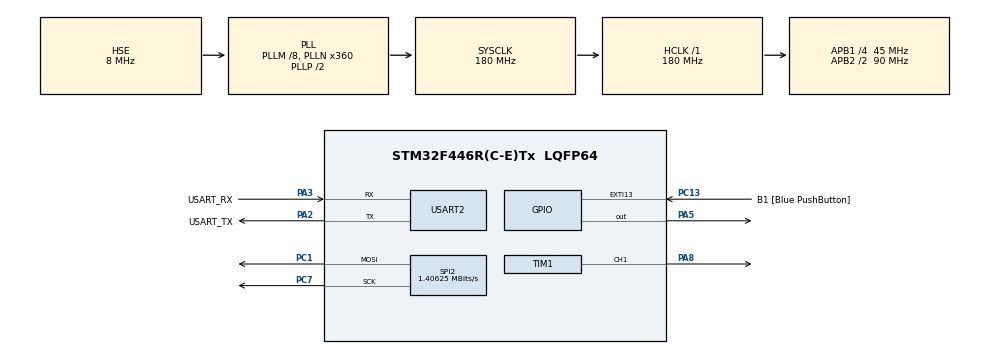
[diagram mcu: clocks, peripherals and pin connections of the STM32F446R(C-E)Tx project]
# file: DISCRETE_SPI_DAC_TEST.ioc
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Dma.Request0=TIM1_UP
Dma.TIM1_UP.0.Direction=DMA_MEMORY_TO_PERIPH
Dma.TIM1_UP.0.FIFOMode=DMA_FIFOMODE_DISABLE
Dma.TIM1_UP.0.Instance=DMA2_Stream5
Dma.TIM1_UP.0.MemDataAlignment=DMA_MDATAALIGN_BYTE
Dma.TIM1_UP.0.MemInc=DMA_MINC_ENABLE
Dma.TIM1_UP.0.Mode=DMA_CIRCULAR
Dma.TIM1_UP.0.PeriphDataAlignment=DMA_PDATAALIGN_BYTE
Dma.TIM1_UP.0.PeriphInc=DMA_PINC_DISABLE
Dma.TIM1_UP.0.Priority=DMA_PRIORITY_LOW
Mcu.Family=STM32F4
Mcu.Name=STM32F446R(C-E)Tx
Mcu.Package=LQFP64
Mcu.UserConstants=timer_period,5000
NVIC.DMA2_Stream5_IRQn=true\:0\:0\:false\:false\:true\:false\:true\:true
NVIC.EXTI15_10_IRQn=true\:0\:0\:false\:false\:true\:true\:true\:true
NVIC.PriorityGroup=NVIC_PRIORITYGROUP_0
PA13.GPIO_Label=TMS
PA13.Mode=Serial_Wire
PA13.Signal=SYS_JTMS-SWDIO
PA14.GPIO_Label=TCK
PA14.Mode=Serial_Wire
PA14.Signal=SYS_JTCK-SWCLK
PA2.GPIO_Label=USART_TX
PA2.Mode=Asynchronous
PA2.Signal=USART2_TX
PA3.GPIO_Label=USART_RX
PA3.Mode=Asynchronous
PA3.Signal=USART2_RX
PA5.Signal=GPIO_Output
PA8.Signal=S_TIM1_CH1
PC1.Mode=TX_Only_Simplex_Unidirect_Master
PC1.Signal=SPI2_MOSI
PC13.GPIO_Label=B1 [Blue PushButton]
PC13.GPIO_ModeDefaultEXTI=GPIO_MODE_IT_FALLING
PC13.Signal=GPXTI13
PC14-OSC32_IN.Mode=LSE-External-Oscillator
PC14-OSC32_IN.Signal=RCC_OSC32_IN
PC15-OSC32_OUT.Mode=LSE-External-Oscillator
PC15-OSC32_OUT.Signal=RCC_OSC32_OUT
PC7.Mode=TX_Only_Simplex_Unidirect_Master
PC7.Signal=SPI2_SCK
PH0-OSC_IN.Mode=HSE-External-Oscillator
PH0-OSC_IN.Signal=RCC_OSC_IN
PH1-OSC_OUT.Mode=HSE-External-Oscillator
PH1-OSC_OUT.Signal=RCC_OSC_OUT
ProjectManager.HeapSize=0x200
ProjectManager.StackSize=0x400
ProjectManager.TargetToolchain=STM32CubeIDE
RCC.48MHZClocksFreq_Value=84000000
RCC.AHBFreq_Value=180000000
RCC.APB1CLKDivider=RCC_HCLK_DIV4
RCC.APB1Freq_Value=45000000
RCC.APB1TimFreq_Value=90000000
RCC.APB2CLKDivider=RCC_HCLK_DIV2
RCC.APB2Freq_Value=90000000
RCC.APB2TimFreq_Value=180000000
RCC.CortexFreq_Value=180000000
RCC.FLatency-AdvancedSettings=FLASH_LATENCY_5
RCC.HCLKFreq_Value=180000000
RCC.HSE_VALUE=8000000
RCC.HSI_VALUE=16000000
RCC.PLLM=8
RCC.PLLN=360
RCC.PLLSourceVirtual=RCC_PLLSOURCE_HSE
RCC.SYSCLKFreq_VALUE=180000000
RCC.SYSCLKSource=RCC_SYSCLKSOURCE_PLLCLK
RCC.USBFreq_Value=180000000
RCC.VCOOutputFreq_Value=360000000
SH.S_TIM1_CH1.0=TIM1_CH1,PWM Generation1 CH1
SPI2.BaudRatePrescaler=SPI_BAUDRATEPRESCALER_32
SPI2.CalculateBaudRate=1.40625 MBits/s
SPI2.Direction=SPI_DIRECTION_2LINES
SPI2.Mode=SPI_MODE_MASTER
SPI2.VirtualType=VM_MASTER
TIM1.Channel-PWM\ Generation1\ CH1=TIM_CHANNEL_1
TIM1.OCIdleState_1=TIM_OCIDLESTATE_SET
TIM1.OCPolarity_1=TIM_OCPOLARITY_LOW
TIM1.Period=timer_period
TIM1.Prescaler=0
TIM1.Pulse-PWM\ Generation1\ CH1=1100
USART2.VirtualMode=VM_ASYNC
VP_TIM1_VS_ClockSourceINT.Mode=Internal
board=NUCLEO-F446RE

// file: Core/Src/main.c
/* USER CODE BEGIN Header */
/**
  ******************************************************************************
  * @file           : main.c
  * @brief          : Main program body
  ******************************************************************************
  * @attention
  *
  * Copyright (c) 2024 STMicroelectronics.
  * All rights reserved.
  *
  * This software is licensed under terms that can be found in the LICENSE file
  * in the root directory of this software component.
  * If no LICENSE file comes with this software, it is provided AS-IS.
  *
  ******************************************************************************
  */
/* USER CODE END Header */
#include "main.h"

/* USER CODE BEGIN Includes */
#include <math.h>
#include <stdio.h>
#include <stdlib.h>
#include <string.h>
/* USER CODE END Includes */

SPI_HandleTypeDef hspi2;

TIM_HandleTypeDef htim1;
DMA_HandleTypeDef hdma_tim1_up;

UART_HandleTypeDef huart2;

void SystemClock_Config(void);
static void MX_GPIO_Init(void);
static void MX_DMA_Init(void);
static void MX_USART2_UART_Init(void);
static void MX_TIM1_Init(void);
static void MX_SPI2_Init(void);
/* USER CODE BEGIN PFP */
#define PUTCHAR_PROTOTYPE int __io_putchar(int ch)
/* USER CODE END PFP */

/* USER CODE BEGIN 0 */
PUTCHAR_PROTOTYPE
{
  /* Place your implementation of fputc here */
  /* e.g. write a character to the USART2 and Loop until the end of transmission */
  HAL_UART_Transmit(&huart2, (uint8_t *)&ch, 1, 0xFFFF);
  return ch;
}
uint32_t data_len = 512;
uint8_t DAC_data[512];
uint8_t waveform_type=0;

/* USER CODE END 0 */

int main(void)
{

  /* MCU Configuration--------------------------------------------------------*/

  /* Reset of all peripherals, Initializes the Flash interface and the Systick. */
  HAL_Init();

  /* Configure the system clock */
  SystemClock_Config();

  /* Initialize all configured peripherals */
  MX_GPIO_Init();
  MX_DMA_Init();
  MX_USART2_UART_Init();
  MX_TIM1_Init();
  MX_SPI2_Init();
  /* USER CODE BEGIN 2 */
  for (uint32_t i = 0; i< 256;i++){
    DAC_data[i] = i;

  }
  for (uint32_t i = 0; i<256;i++){
    DAC_data[i+255] = (uint8_t)255-i;
  }

  /// SPI DMA
  __HAL_SPI_ENABLE(&hspi2);
  HAL_DMA_Start(&hdma_tim1_up, (uint32_t)&DAC_data[0],  (uint32_t)&(SPI2->DR), data_len);
  TIM1->DIER |= TIM_DIER_UDE;
  HAL_TIM_Base_Start(&htim1);
  HAL_TIM_PWM_Start(&htim1, TIM_CHANNEL_1);
  /* USER CODE END 2 */

  /* Infinite loop */
  /* USER CODE BEGIN WHILE */
  while (1)
  {
	  //for (uint32_t i = 0; i< 256;i++){
		//  HAL_SPI_Transmit(&hspi2,  &DAC_data[i], 1, HAL_MAX_DELAY);
		//  HAL_Delay(100);
	  //}
	 //HAL_GPIO_WritePin(GPIOA, GPIO_PIN_15, );
	  HAL_GPIO_TogglePin(GPIOA, GPIO_PIN_5);
	  HAL_Delay(1000);

    /* USER CODE END WHILE */

  }
}

void SystemClock_Config(void)
{
  RCC_OscInitTypeDef RCC_OscInitStruct = {0};
  RCC_ClkInitTypeDef RCC_ClkInitStruct = {0};

  /** Configure the main internal regulator output voltage
  */
  __HAL_RCC_PWR_CLK_ENABLE();
  __HAL_PWR_VOLTAGESCALING_CONFIG(PWR_REGULATOR_VOLTAGE_SCALE1);

  /** Initializes the RCC Oscillators according to the specified parameters
  * in the RCC_OscInitTypeDef structure.
  */
  RCC_OscInitStruct.OscillatorType = RCC_OSCILLATORTYPE_HSE;
  RCC_OscInitStruct.HSEState = RCC_HSE_ON;
  RCC_OscInitStruct.PLL.PLLState = RCC_PLL_ON;
  RCC_OscInitStruct.PLL.PLLSource = RCC_PLLSOURCE_HSE;
  RCC_OscInitStruct.PLL.PLLM = 8;
  RCC_OscInitStruct.PLL.PLLN = 360;
  RCC_OscInitStruct.PLL.PLLP = RCC_PLLP_DIV2;
  RCC_OscInitStruct.PLL.PLLQ = 2;
  RCC_OscInitStruct.PLL.PLLR = 2;
  if (HAL_RCC_OscConfig(&RCC_OscInitStruct) != HAL_OK)
  {
    Error_Handler();
  }

  /** Activate the Over-Drive mode
  */
  if (HAL_PWREx_EnableOverDrive() != HAL_OK)
  {
    Error_Handler();
  }

  /** Initializes the CPU, AHB and APB buses clocks
  */
  RCC_ClkInitStruct.ClockType = RCC_CLOCKTYPE_HCLK|RCC_CLOCKTYPE_SYSCLK
                              |RCC_CLOCKTYPE_PCLK1|RCC_CLOCKTYPE_PCLK2;
  RCC_ClkInitStruct.SYSCLKSource = RCC_SYSCLKSOURCE_PLLCLK;
  RCC_ClkInitStruct.AHBCLKDivider = RCC_SYSCLK_DIV1;
  RCC_ClkInitStruct.APB1CLKDivider = RCC_HCLK_DIV4;
  RCC_ClkInitStruct.APB2CLKDivider = RCC_HCLK_DIV2;

  if (HAL_RCC_ClockConfig(&RCC_ClkInitStruct, FLASH_LATENCY_5) != HAL_OK)
  {
    Error_Handler();
  }
}

static void MX_SPI2_Init(void)
{

  /* SPI2 parameter configuration*/
  hspi2.Instance = SPI2;
  hspi2.Init.Mode = SPI_MODE_MASTER;
  hspi2.Init.Direction = SPI_DIRECTION_2LINES;
  hspi2.Init.DataSize = SPI_DATASIZE_8BIT;
  hspi2.Init.CLKPolarity = SPI_POLARITY_LOW;
  hspi2.Init.CLKPhase = SPI_PHASE_1EDGE;
  hspi2.Init.NSS = SPI_NSS_SOFT;
  hspi2.Init.BaudRatePrescaler = SPI_BAUDRATEPRESCALER_32;
  hspi2.Init.FirstBit = SPI_FIRSTBIT_MSB;
  hspi2.Init.TIMode = SPI_TIMODE_DISABLE;
  hspi2.Init.CRCCalculation = SPI_CRCCALCULATION_DISABLE;
  hspi2.Init.CRCPolynomial = 10;
  if (HAL_SPI_Init(&hspi2) != HAL_OK)
  {
    Error_Handler();
  }

}

static void MX_TIM1_Init(void)
{

  TIM_ClockConfigTypeDef sClockSourceConfig = {0};
  TIM_MasterConfigTypeDef sMasterConfig = {0};
  TIM_OC_InitTypeDef sConfigOC = {0};
  TIM_BreakDeadTimeConfigTypeDef sBreakDeadTimeConfig = {0};

  htim1.Instance = TIM1;
  htim1.Init.Prescaler = 0;
  htim1.Init.CounterMode = TIM_COUNTERMODE_UP;
  htim1.Init.Period = timer_period;
  htim1.Init.ClockDivision = TIM_CLOCKDIVISION_DIV1;
  htim1.Init.RepetitionCounter = 0;
  htim1.Init.AutoReloadPreload = TIM_AUTORELOAD_PRELOAD_DISABLE;
  if (HAL_TIM_Base_Init(&htim1) != HAL_OK)
  {
    Error_Handler();
  }
  sClockSourceConfig.ClockSource = TIM_CLOCKSOURCE_INTERNAL;
  if (HAL_TIM_ConfigClockSource(&htim1, &sClockSourceConfig) != HAL_OK)
  {
    Error_Handler();
  }
  if (HAL_TIM_PWM_Init(&htim1) != HAL_OK)
  {
    Error_Handler();
  }
  sMasterConfig.MasterOutputTrigger = TIM_TRGO_RESET;
  sMasterConfig.MasterSlaveMode = TIM_MASTERSLAVEMODE_DISABLE;
  if (HAL_TIMEx_MasterConfigSynchronization(&htim1, &sMasterConfig) != HAL_OK)
  {
    Error_Handler();
  }
  sConfigOC.OCMode = TIM_OCMODE_PWM1;
  sConfigOC.Pulse = 1100;
  sConfigOC.OCPolarity = TIM_OCPOLARITY_LOW;
  sConfigOC.OCNPolarity = TIM_OCNPOLARITY_HIGH;
  sConfigOC.OCFastMode = TIM_OCFAST_DISABLE;
  sConfigOC.OCIdleState = TIM_OCIDLESTATE_SET;
  sConfigOC.OCNIdleState = TIM_OCNIDLESTATE_RESET;
  if (HAL_TIM_PWM_ConfigChannel(&htim1, &sConfigOC, TIM_CHANNEL_1) != HAL_OK)
  {
    Error_Handler();
  }
  sBreakDeadTimeConfig.OffStateRunMode = TIM_OSSR_DISABLE;
  sBreakDeadTimeConfig.OffStateIDLEMode = TIM_OSSI_DISABLE;
  sBreakDeadTimeConfig.LockLevel = TIM_LOCKLEVEL_OFF;
  sBreakDeadTimeConfig.DeadTime = 0;
  sBreakDeadTimeConfig.BreakState = TIM_BREAK_DISABLE;
  sBreakDeadTimeConfig.BreakPolarity = TIM_BREAKPOLARITY_HIGH;
  sBreakDeadTimeConfig.AutomaticOutput = TIM_AUTOMATICOUTPUT_DISABLE;
  if (HAL_TIMEx_ConfigBreakDeadTime(&htim1, &sBreakDeadTimeConfig) != HAL_OK)
  {
    Error_Handler();
  }
  HAL_TIM_MspPostInit(&htim1);

}

static void MX_USART2_UART_Init(void)
{

  huart2.Instance = USART2;
  huart2.Init.BaudRate = 115200;
  huart2.Init.WordLength = UART_WORDLENGTH_8B;
  huart2.Init.StopBits = UART_STOPBITS_1;
  huart2.Init.Parity = UART_PARITY_NONE;
  huart2.Init.Mode = UART_MODE_TX_RX;
  huart2.Init.HwFlowCtl = UART_HWCONTROL_NONE;
  huart2.Init.OverSampling = UART_OVERSAMPLING_16;
  if (HAL_UART_Init(&huart2) != HAL_OK)
  {
    Error_Handler();
  }

}

static void MX_DMA_Init(void)
{

  /* DMA controller clock enable */
  __HAL_RCC_DMA2_CLK_ENABLE();

  /* DMA interrupt init */
  /* DMA2_Stream5_IRQn interrupt configuration */
  HAL_NVIC_SetPriority(DMA2_Stream5_IRQn, 0, 0);
  HAL_NVIC_EnableIRQ(DMA2_Stream5_IRQn);

}

static void MX_GPIO_Init(void)
{
  GPIO_InitTypeDef GPIO_InitStruct = {0};

  /* GPIO Ports Clock Enable */
  __HAL_RCC_GPIOC_CLK_ENABLE();
  __HAL_RCC_GPIOH_CLK_ENABLE();
  __HAL_RCC_GPIOA_CLK_ENABLE();

  /*Configure GPIO pin Output Level */
  HAL_GPIO_WritePin(GPIOA, GPIO_PIN_5, GPIO_PIN_RESET);

  /*Configure GPIO pin : B1_Pin */
  GPIO_InitStruct.Pin = B1_Pin;
  GPIO_InitStruct.Mode = GPIO_MODE_IT_FALLING;
  GPIO_InitStruct.Pull = GPIO_NOPULL;
  HAL_GPIO_Init(B1_GPIO_Port, &GPIO_InitStruct);

  /*Configure GPIO pin : PA5 */
  GPIO_InitStruct.Pin = GPIO_PIN_5;
  GPIO_InitStruct.Mode = GPIO_MODE_OUTPUT_PP;
  GPIO_InitStruct.Pull = GPIO_NOPULL;
  GPIO_InitStruct.Speed = GPIO_SPEED_FREQ_LOW;
  HAL_GPIO_Init(GPIOA, &GPIO_InitStruct);

  /* EXTI interrupt init*/
  HAL_NVIC_SetPriority(EXTI15_10_IRQn, 0, 0);
  HAL_NVIC_EnableIRQ(EXTI15_10_IRQn);

}

void Error_Handler(void)
{
  __disable_irq();
  while (1)
  {
  }
}
